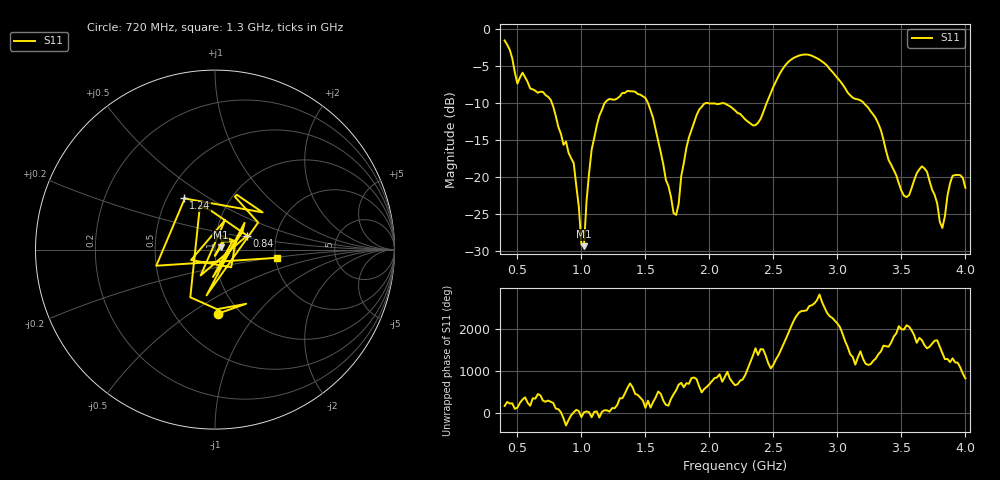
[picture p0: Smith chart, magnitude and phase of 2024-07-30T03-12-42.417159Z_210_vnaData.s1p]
!Created with skrf (http://scikit-rf.org).
# Hz S RI R 50.0
!freq ReS11 ImS11
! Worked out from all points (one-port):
!   181 points, 400 MHz to 4 GHz, reference 50 ohm
!   lowest |S11| = -29.4 dB at 1.02 GHz (marker M1), VSWR 1.07, Z = 53.2 + j1.42 ohm
!   |S11| at or under -10 dB: 1.52 GHz to 1.975 GHz (455 MHz wide, 26 % of centre); 1.986 GHz to 2.447 GHz (461.6 MHz wide, 20.8 % of centre); 3.206 GHz to end of sweep (the widest 3 of 4)
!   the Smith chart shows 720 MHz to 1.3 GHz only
!   S11 on the Smith chart (normalised r, x): 720 MHz: 0.79, -0.65; 840 MHz: 1.42, +0.23; 1.24 GHz: 0.61, +0.39; 1.3 GHz: 2.05, -0.21
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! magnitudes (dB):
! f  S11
! 400 MHz  -1.5
! 500 MHz  -7.4
! 720 MHz  -8.9
! 840 MHz  -14.2
! 860 MHz  -15.7
! 940 MHz  -18.1
! 1 GHz  -29.2
! 1.02 GHz  -29.4
! 1.08 GHz  -16.3
! 1.14 GHz  -11.7
! 1.24 GHz  -9.5
! 1.3 GHz  -9.1
! 1.5 GHz  -9.3
! 1.72 GHz  -24.9
! 1.76 GHz  -23.7
! 1.82 GHz  -16.1
! 1.92 GHz  -10.9
! 2.2 GHz  -11.0
! 2.36 GHz  -13.0
! 2.66 GHz  -3.9
! 2.86 GHz  -4.1
! 3.1 GHz  -9.0
! 3.3 GHz  -12.1
! 3.56 GHz  -22.5
! 3.68 GHz  -18.9
! 3.82 GHz  -26.9
! 3.9 GHz  -19.9
! 4 GHz  -21.5
